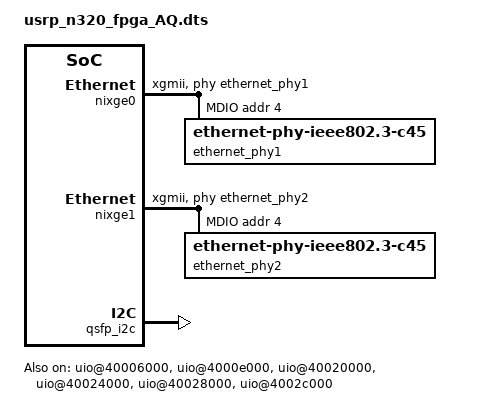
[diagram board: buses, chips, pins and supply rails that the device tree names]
// SPDX-License-Identifier: GPL-2.0 OR X11
/*
 * Copyright (c) 2018 National Instruments Corp
 */

/dts-v1/;
/plugin/;

#include "n320-fpga.dtsi"

&fpga_full {
	nixge0: ethernet@40000000 {
		compatible = "ni,xge-enet-2.00";
		reg = <0x40000000 0x6000>;

		clocks = <&clkc 15>;
		clock-names = "bus_clk";

		nvmem-cells = <&eth1_addr>;
		nvmem-cell-names = "address";

		interrupts = <0 29 4>, <0 30 4>;
		interrupt-names = "rx", "tx";
		interrupt-parent = <&intc>;
		status = "okay";

		phy-mode = "xgmii";
		phy-handle = <&ethernet_phy1>;

		mdio {
			ethernet_phy1: ethernet-phy@4 {
				compatible = "ethernet-phy-ieee802.3-c45";
				reg = <4>;
			};
		};
	};

	uio@40006000 {
		compatible = "usrp-uio";
		reg = <0x40006000 0x2000>;
		reg-names = "misc-enet-regs0";
		status = "okay";
	};

	nixge1: ethernet@40008000 {
		compatible = "ni,xge-enet-2.00";
		reg = <0x40008000 0x6000>;

		clocks = <&clkc 15>;
		clock-names = "bus_clk";

		nvmem-cells = <&eth2_addr>;
		nvmem-cell-names = "address";

		interrupts = <0 31 4>, <0 32 4>;
		interrupt-names = "rx", "tx";
		interrupt-parent = <&intc>;
		status = "okay";

		phy-mode = "xgmii";
		phy-handle = <&ethernet_phy2>;

		mdio {
			ethernet_phy2: ethernet-phy@4 {
				compatible = "ethernet-phy-ieee802.3-c45";
				reg = <4>;
			};
		};
	};

	uio@4000e000 {
		compatible = "usrp-uio";
		reg = <0x4000e000 0x2000>;
		reg-names = "misc-enet-regs1";
		status = "okay";
	};

	uio@40020000 {
		compatible = "usrp-uio";
		reg = <0x40020000 0x1000>;
		reg-names = "misc-auro-regs0";
		status = "okay";
	};

	uio@40024000 {
		compatible = "usrp-uio";
		reg = <0x40024000 0x1000>;
		reg-names = "misc-auro-regs1";
		status = "okay";
	};

	uio@40028000 {
		compatible = "usrp-uio";
		reg = <0x40028000 0x1000>;
		reg-names = "misc-auro-regs2";
		status = "okay";
	};


	uio@4002c000 {
		compatible = "usrp-uio";
		reg = <0x4002c000 0x1000>;
		reg-names = "misc-auro-regs3";
		status = "okay";
	};

	qsfp_i2c: qsfp-i2c@43D80000 {
		compatible = "xlnx,xps-iic-2.00.a";
		clocks = <&clkc 15>;
		interrupt-parent = <&intc>;
		interrupts = <0 55 4>;
		reg = <0x43D80000 0x10000>;
	};
};

#include "n320-common.dtsi"
#include "dma-common.dtsi"
